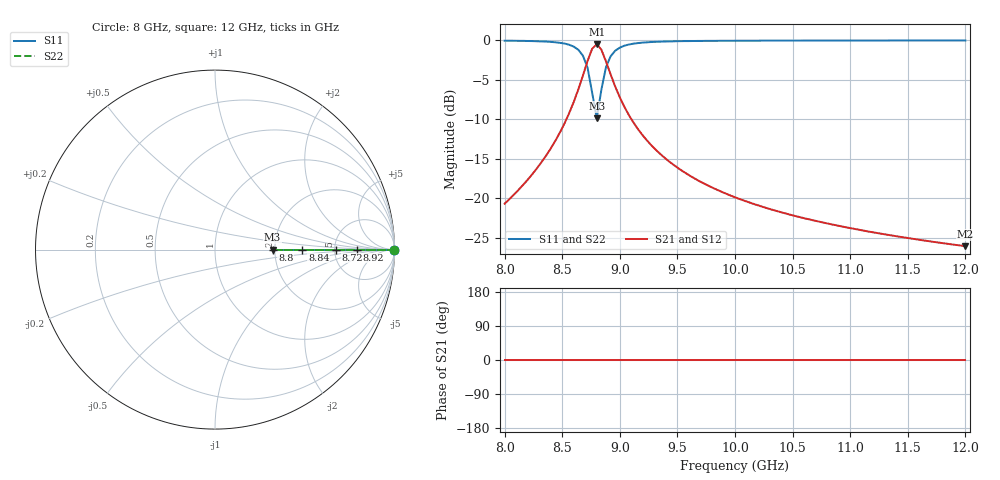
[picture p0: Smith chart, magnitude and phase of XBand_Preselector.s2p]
! Touchstone 2-Port S-Parameter File
! Generated by CircuitRF Bridge Client
# GHz S DB R 50
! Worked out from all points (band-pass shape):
!   101 points, 8 GHz to 12 GHz, reference 50 ohm
!   highest |S21| = -0.47 dB at 8.8 GHz (marker M1); lowest = -26.1 dB at 12 GHz (marker M2)
!   |S21| within 3 dB of the highest: 8.701 GHz to 8.9 GHz (198.6 MHz wide, 2.26 % of centre)
!   lowest |S11| = -9.9 dB at 8.8 GHz (marker M3), VSWR 1.94, Z = 97.2 + j0 ohm
!   |S11| at or under -10 dB: nowhere
!   |S22| runs from -9.9 to 0.0 dB; largest |S21 - S12| = 0
!   S11 on the Smith chart (normalised r, x): 8 GHz: open; 8.72 GHz: 5.10, +0.00; 8.8 GHz: 1.94, +0.00; 8.84 GHz: 2.90, +0.00; 8.92 GHz: 8.64, +0.00; 12 GHz: open
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8  -0.04 0.0  -20.68 0.0  -20.68 0.0  -0.04 0.0
8.24  -0.09 0.0  -16.95 0.0  -16.95 0.0  -0.09 0.0
8.44  -0.24 0.0  -12.73 0.0  -12.73 0.0  -0.24 0.0
8.56  -0.55 0.0  -9.23 0.0  -9.23 0.0  -0.55 0.0
8.64  -1.19 0.0  -6.20 0.0  -6.20 0.0  -1.19 0.0
8.68  -1.94 0.0  -4.44 0.0  -4.44 0.0  -1.94 0.0
8.72  -3.45 0.0  -2.61 0.0  -2.61 0.0  -3.45 0.0
8.76  -6.63 0.0  -1.06 0.0  -1.06 0.0  -6.63 0.0
8.8  -9.88 0.0  -0.47 0.0  -0.47 0.0  -9.88 0.0
8.84  -6.25 0.0  -1.18 0.0  -1.18 0.0  -6.25 0.0
8.88  -3.39 0.0  -2.66 0.0  -2.66 0.0  -3.39 0.0
8.92  -2.02 0.0  -4.30 0.0  -4.30 0.0  -2.02 0.0
8.96  -1.31 0.0  -5.84 0.0  -5.84 0.0  -1.31 0.0
9  -0.92 0.0  -7.21 0.0  -7.21 0.0  -0.92 0.0
9.08  -0.52 0.0  -9.49 0.0  -9.49 0.0  -0.52 0.0
9.2  -0.28 0.0  -12.05 0.0  -12.05 0.0  -0.28 0.0
9.36  -0.16 0.0  -14.50 0.0  -14.50 0.0  -0.16 0.0
9.64  -0.08 0.0  -17.41 0.0  -17.41 0.0  -0.08 0.0
10  -0.05 0.0  -19.87 0.0  -19.87 0.0  -0.05 0.0
10.68  -0.02 0.0  -22.79 0.0  -22.79 0.0  -0.02 0.0
11.36  -0.01 0.0  -24.70 0.0  -24.70 0.0  -0.01 0.0
12  -0.01 0.0  -26.06 0.0  -26.06 0.0  -0.01 0.0
